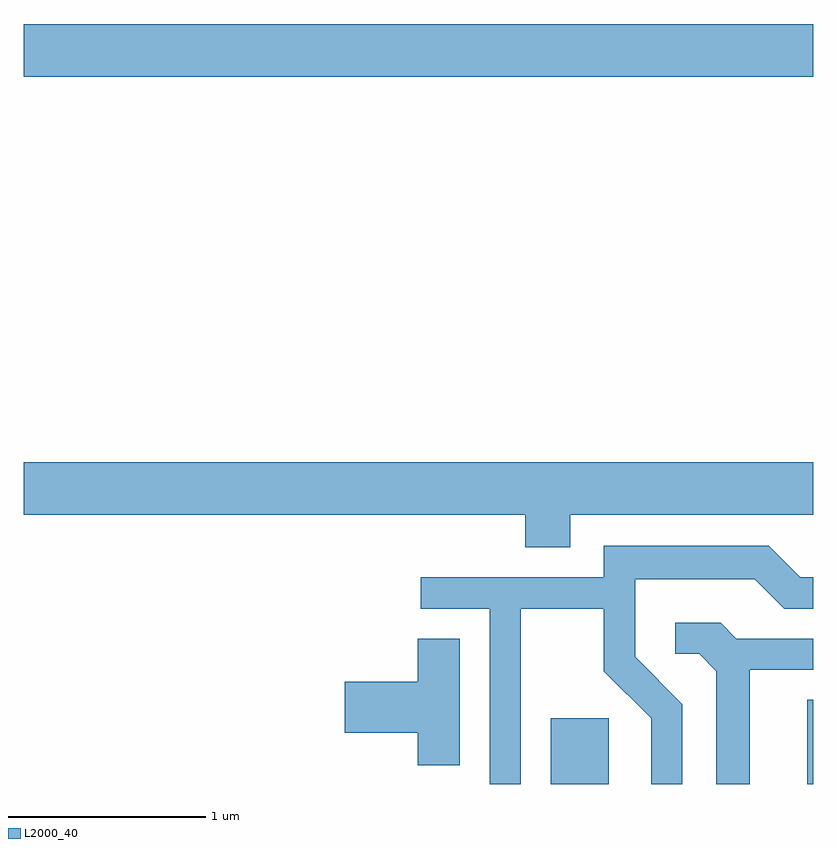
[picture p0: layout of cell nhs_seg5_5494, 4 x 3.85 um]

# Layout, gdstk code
import gdstk
lib = gdstk.Library(unit=1e-6, precision=1e-09)
def R(c, l, rs):  # rectangles x0, y0, x1, y1
    for r in rs: c.add(gdstk.rectangle(r[:2], r[2:], *l))
def P(c, l, *ps):  # polygons
    for p in ps: c.add(gdstk.Polygon(p, *l))
L2000_40 = (2000, 40)

nhs_seg5_5494 = lib.new_cell('nhs_seg5_5494')
R(nhs_seg5_5494, L2000_40, [(350.281,1482.072,350.574,1482.404), (351.581,1482.072,351.611,1482.499), (347.611,1485.656,351.611,1485.924)])
P(nhs_seg5_5494, L2000_40, [(350.379,1483.436),(351.611,1483.436),(351.611,1483.704),(347.611,1483.704),(347.611,1483.436),(350.151,1483.436),(350.151,1483.271),(350.379,1483.271)],
  [(350.129,1482.961),(350.551,1482.961),(350.551,1482.644),(350.791,1482.404),(350.791,1482.072),(350.949,1482.072),(350.949,1482.477),(350.709,1482.717),(350.709,1483.111),(351.314,1483.111),(351.464,1482.961),(351.611,1482.961),(351.611,1483.119),(351.547,1483.119),(351.387,1483.279),(350.551,1483.279),(350.551,1483.119),(349.623,1483.119),(349.623,1482.961),(349.971,1482.961),(349.971,1482.072),(350.129,1482.072)],
  [(351.289,1482.651),(351.611,1482.651),(351.611,1482.809),(351.222,1482.809),(351.142,1482.889),(350.913,1482.889),(350.913,1482.731),(351.034,1482.731),(351.121,1482.644),(351.121,1482.072),(351.289,1482.072)],
  [(349.819,1482.809),(349.606,1482.809),(349.606,1482.589),(349.236,1482.589),(349.236,1482.331),(349.606,1482.331),(349.606,1482.166),(349.819,1482.166)])

lib.write_gds('nhs_seg5_5494.gds')
